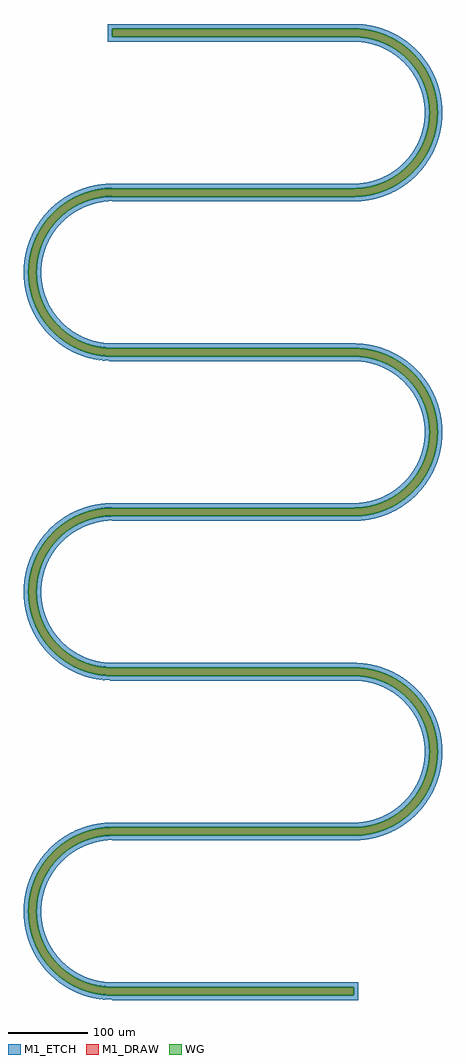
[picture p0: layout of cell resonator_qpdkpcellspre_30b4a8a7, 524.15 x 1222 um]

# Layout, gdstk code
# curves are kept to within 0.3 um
from math import pi, radians
import gdstk
lib = gdstk.Library(unit=1e-6, precision=1e-09)
def R(c, l, rs):  # rectangles x0, y0, x1, y1
    for r in rs: c.add(gdstk.rectangle(r[:2], r[2:], *l))
def P(c, l, *ps):  # polygons
    for p in ps: c.add(gdstk.Polygon(p, *l))
M1_DRAW = (1, 0)
M1_ETCH = (1, 1)
WG = (102, 0)

straight_l302p149428571_ = lib.new_cell('straight_L302p149428571_bc27b266')
R(straight_l302p149428571_, M1_DRAW, [(0,-5,302.149,5)])
R(straight_l302p149428571_, M1_ETCH, [(0,-11,302.149,-5), (0,5,302.149,11)])
R(straight_l302p149428571_, WG, [(0,-5,302.149,5)])

bend_circular_cscoplana_ = lib.new_cell('bend_circular_CScoplana_6847dd2d')
P(bend_circular_cscoplana_, M1_DRAW, [(0,-5),(0,5),(9.542,5.48),(19.689,7.063),(29.152,9.583),(38.524,13.161),(47.466,17.708),(55.685,23.031),(63.49,29.332),(70.428,36.243),(75.905,42.873),(80.76,49.971),(84.953,57.479),(88.623,65.78),(91.484,74.394),(93.425,82.772),(94.622,91.528),(95,99.881),(94.622,108.472),(93.425,117.228),(91.484,125.606),(88.709,133.997),(85.271,141.879),(80.885,149.826),(75.905,157.127),(70.428,163.757),(63.49,170.668),(55.685,176.969),(47.466,182.292),(38.524,186.839),(29.152,190.417),(19.689,192.937),(9.542,194.52),(0,195),(0.264,205),(10.546,204.469),(20.727,202.934),(30.709,200.409),(40.395,196.919),(49.46,192.621),(58.294,187.332),(66.567,181.203),(74.2,174.293),(81.119,166.669),(87.405,158.184),(92.683,149.344),(97.171,139.785),(100.6,130.077),(103.062,120.08),(104.508,110.152),(105,99.868),(104.456,89.322),(102.908,79.143),(100.448,69.417),(96.868,59.483),(92.434,50.191),(87.111,41.377),(80.951,33.127),(74.2,25.707),(66.567,18.797),(58.294,12.668),(49.46,7.379),(39.907,2.879),(30.456,-0.486),(20.468,-2.986),(10.021,-4.521)])
P(bend_circular_cscoplana_, M1_ETCH, [(0,-11),(0,-5),(12.646,-4.236),(24.595,-2.079),(36.215,1.443),(47.587,6.402),(55.632,10.949),(63.035,16.026),(70.174,21.893),(76.408,27.98),(82.77,35.393),(88.416,43.364),(93.297,51.826),(97.566,61.195),(100.898,70.937),(103.162,80.439),(104.558,90.374),(105,99.868),(104.558,109.626),(103.162,119.561),(100.898,129.063),(97.566,138.805),(93.297,148.174),(88.416,156.636),(82.77,164.607),(76.408,172.02),(70.174,178.107),(63.035,183.974),(55.632,189.051),(47.822,193.478),(36.215,198.557),(24.595,202.079),(12.646,204.236),(0,205),(0.279,211),(11.149,210.439),(21.912,208.816),(32.464,206.147),(42.703,202.457),(52.533,197.782),(61.857,192.167),(70.586,185.666),(78.637,178.341),(86.108,170.046),(92.4,161.509),(97.98,152.163),(102.511,142.575),(106.349,131.796),(108.898,121.501),(110.453,111.01),(111,99.86),(110.453,88.99),(108.898,78.499),(106.349,68.204),(102.511,57.425),(97.98,47.837),(92.4,38.491),(86.108,29.954),(78.637,21.659),(70.586,14.334),(61.857,7.833),(52.287,2.086),(42.446,-2.564),(32.197,-6.228),(21.638,-8.871),(11.149,-10.439)],
  [(0,5),(0,11),(9.385,11.496),(18.227,12.886),(27.311,15.294),(35.681,18.465),(43.885,22.572),(51.44,27.371),(58.475,32.905),(65.071,39.281),(70.569,45.768),(75.184,52.372),(79.386,59.764),(82.699,67.108),(85.461,75.15),(87.4,83.2),(88.583,91.395),(89,99.888),(88.625,108.159),(87.442,116.58),(85.523,124.635),(82.863,132.476),(79.386,140.236),(75.184,147.628),(70.569,154.232),(65.071,160.719),(58.475,167.095),(51.44,172.629),(43.885,177.428),(35.681,181.535),(27.311,184.706),(18.227,187.114),(9.385,188.504),(0,189),(0.239,195),(9.542,194.52),(18.753,193.131),(27.556,190.916),(36.548,187.688),(45.171,183.574),(52.94,178.882),(60.412,173.317),(67.302,167.048),(73.545,160.134),(79.081,152.642),(83.744,144.855),(87.826,136.217),(90.881,127.67),(93.201,118.402),(94.532,109.423),(95,99.881),(94.532,90.577),(93.201,81.598),(90.881,72.33),(87.734,63.562),(83.631,54.934),(78.815,46.96),(73.241,39.496),(66.964,32.614),(59.857,26.229),(52.543,20.853),(44.75,16.2),(36.327,12.22),(27.556,9.084),(18.519,6.822),(9.542,5.48)])
P(bend_circular_cscoplana_, WG, [(0,-5),(0,5),(9.542,5.48),(19.689,7.063),(29.152,9.583),(38.524,13.161),(47.466,17.708),(55.685,23.031),(63.49,29.332),(70.428,36.243),(75.905,42.873),(80.76,49.971),(84.953,57.479),(88.623,65.78),(91.484,74.394),(93.425,82.772),(94.622,91.528),(95,99.881),(94.622,108.472),(93.425,117.228),(91.484,125.606),(88.709,133.997),(85.271,141.879),(80.885,149.826),(75.905,157.127),(70.428,163.757),(63.49,170.668),(55.685,176.969),(47.466,182.292),(38.524,186.839),(29.152,190.417),(19.689,192.937),(9.542,194.52),(0,195),(0.264,205),(10.546,204.469),(20.727,202.934),(30.709,200.409),(40.395,196.919),(49.46,192.621),(58.294,187.332),(66.567,181.203),(74.2,174.293),(81.119,166.669),(87.405,158.184),(92.683,149.344),(97.171,139.785),(100.6,130.077),(103.062,120.08),(104.508,110.152),(105,99.868),(104.456,89.322),(102.908,79.143),(100.448,69.417),(96.868,59.483),(92.434,50.191),(87.111,41.377),(80.951,33.127),(74.2,25.707),(66.567,18.797),(58.294,12.668),(49.46,7.379),(39.907,2.879),(30.456,-0.486),(20.468,-2.986),(10.021,-4.521)])

rectangle_gdsfactorypco_ = lib.new_cell('rectangle_gdsfactorypco_2d316d18')
R(rectangle_gdsfactorypco_, M1_ETCH, [(-3,-11,3,11)])

resonator_qpdkpcellspre_ = lib.new_cell('resonator_qpdkpcellspre_30b4a8a7')
resonator_qpdkpcellspre_.add(gdstk.Reference(straight_l302p149428571_, (0,0)))
resonator_qpdkpcellspre_.add(gdstk.Reference(bend_circular_cscoplana_, (302.149,0), x_reflection=True))
resonator_qpdkpcellspre_.add(gdstk.Reference(straight_l302p149428571_, (302.149,-200), rotation=pi))
resonator_qpdkpcellspre_.add(gdstk.Reference(bend_circular_cscoplana_, (0,-200), rotation=pi))
resonator_qpdkpcellspre_.add(gdstk.Reference(straight_l302p149428571_, (0,-400)))
resonator_qpdkpcellspre_.add(gdstk.Reference(bend_circular_cscoplana_, (302.149,-400), x_reflection=True))
resonator_qpdkpcellspre_.add(gdstk.Reference(straight_l302p149428571_, (302.149,-600), rotation=pi))
resonator_qpdkpcellspre_.add(gdstk.Reference(bend_circular_cscoplana_, (0,-600), rotation=pi))
resonator_qpdkpcellspre_.add(gdstk.Reference(straight_l302p149428571_, (0,-800)))
resonator_qpdkpcellspre_.add(gdstk.Reference(bend_circular_cscoplana_, (302.149,-800), x_reflection=True))
resonator_qpdkpcellspre_.add(gdstk.Reference(straight_l302p149428571_, (302.149,-1000), rotation=pi))
resonator_qpdkpcellspre_.add(gdstk.Reference(bend_circular_cscoplana_, (0,-1000), rotation=pi))
resonator_qpdkpcellspre_.add(gdstk.Reference(straight_l302p149428571_, (0,-1200)))
resonator_qpdkpcellspre_.add(gdstk.Reference(rectangle_gdsfactorypco_, (305.149,-1200)))
resonator_qpdkpcellspre_.add(gdstk.Reference(rectangle_gdsfactorypco_, (-3,0)))

lib.write_gds('resonator_qpdkpcellspre_30b4a8a7.gds')
